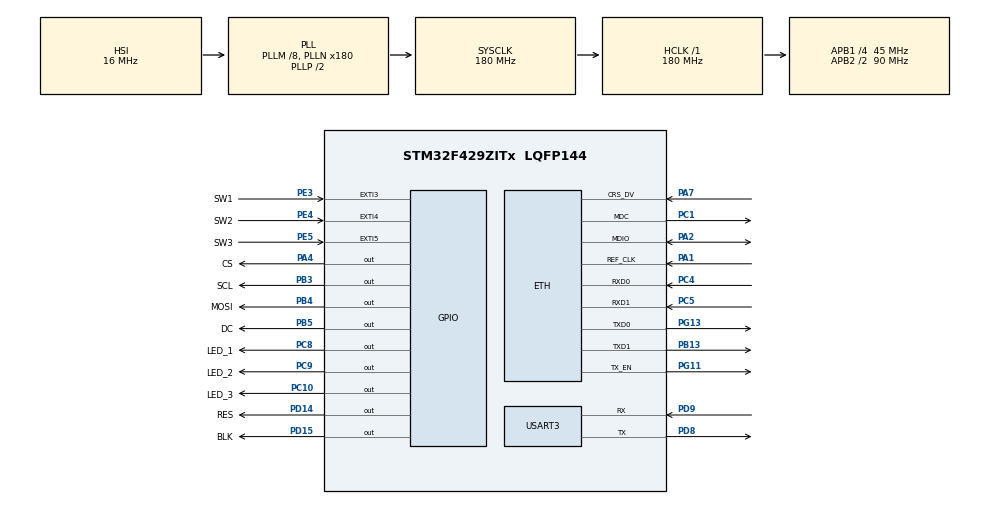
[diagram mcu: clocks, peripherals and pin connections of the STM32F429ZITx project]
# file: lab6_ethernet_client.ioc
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ETH.MACAddr=00\:80\:E1\:AB\:CD\:EF
ETH.MediaInterface=HAL_ETH_RMII_MODE
ETH.RxBuffLen=1536
ETH.RxMode=ETH_RXINTERRUPT_MODE
FREERTOS.Tasks01=defaultTask,24,128,StartDefaultTask,Default,NULL,Dynamic,NULL,NULL
FREERTOS.configTOTAL_HEAP_SIZE=25360
LWIP.BSP.number=1
LWIP.GATEWAY_ADDRESS=192.168.011.254
LWIP.IP_ADDRESS=192.168.011.168
LWIP.LWIP_DHCP=0
LWIP.MEM_SIZE=10*1024
LWIP.NETMASK_ADDRESS=255.255.255.000
LWIP.Version=v2.1.2_Cube
LWIP0.BSP.STBoard=false
LWIP0.BSP.api=BSP_COMPONENT_DRIVER
LWIP0.BSP.component=LAN8742
LWIP0.BSP.instance=LAN8742
LWIP0.BSP.name=Driver_PHY
LWIP0.BSP.semaphore=S_LAN8742
LWIP0.BSP.solution=LAN8742
Mcu.Family=STM32F4
Mcu.Name=STM32F429ZITx
Mcu.Package=LQFP144
NVIC.ETH_IRQn=true\:5\:0\:false\:false\:true\:true\:false\:true\:true
NVIC.EXTI3_IRQn=true\:5\:0\:false\:false\:true\:true\:true\:true\:true
NVIC.EXTI4_IRQn=true\:5\:0\:false\:false\:true\:true\:true\:true\:true
NVIC.EXTI9_5_IRQn=true\:5\:0\:false\:false\:true\:true\:true\:true\:true
NVIC.PriorityGroup=NVIC_PRIORITYGROUP_4
PA1.Mode=RMII
PA1.Signal=ETH_REF_CLK
PA13.Mode=Serial_Wire
PA13.Signal=SYS_JTMS-SWDIO
PA14.Mode=Serial_Wire
PA14.Signal=SYS_JTCK-SWCLK
PA2.Mode=RMII
PA2.Signal=ETH_MDIO
PA4.GPIO_Label=CS
PA4.Signal=GPIO_Output
PA7.Mode=RMII
PA7.Signal=ETH_CRS_DV
PB13.Mode=RMII
PB13.Signal=ETH_TXD1
PB3.GPIO_Label=SCL
PB3.Signal=GPIO_Output
PB4.GPIO_Label=MOSI
PB4.Signal=GPIO_Output
PB5.GPIO_Label=DC
PB5.Signal=GPIO_Output
PC1.Mode=RMII
PC1.Signal=ETH_MDC
PC10.GPIO_Label=LED_3
PC10.Signal=GPIO_Output
PC14/OSC32_IN.Mode=LSE-External-Oscillator
PC14/OSC32_IN.Signal=RCC_OSC32_IN
PC15/OSC32_OUT.Mode=LSE-External-Oscillator
PC15/OSC32_OUT.Signal=RCC_OSC32_OUT
PC4.Mode=RMII
PC4.Signal=ETH_RXD0
PC5.Mode=RMII
PC5.Signal=ETH_RXD1
PC8.GPIO_Label=LED_1
PC8.Signal=GPIO_Output
PC9.GPIO_Label=LED_2
PC9.Signal=GPIO_Output
PD14.GPIO_Label=RES
PD14.Signal=GPIO_Output
PD15.GPIO_Label=BLK
PD15.Signal=GPIO_Output
PD8.Mode=Asynchronous
PD8.Signal=USART3_TX
PD9.Mode=Asynchronous
PD9.Signal=USART3_RX
PE3.GPIO_Label=SW1
PE3.Signal=GPXTI3
PE4.GPIO_Label=SW2
PE4.Signal=GPXTI4
PE5.GPIO_Label=SW3
PE5.Signal=GPXTI5
PG11.Mode=RMII
PG11.Signal=ETH_TX_EN
PG13.Mode=RMII
PG13.Signal=ETH_TXD0
PH0/OSC_IN.Mode=HSE-External-Oscillator
PH0/OSC_IN.Signal=RCC_OSC_IN
PH1/OSC_OUT.Mode=HSE-External-Oscillator
PH1/OSC_OUT.Signal=RCC_OSC_OUT
ProjectManager.HeapSize=0x200
ProjectManager.StackSize=0x400
ProjectManager.TargetToolchain=MDK-ARM V5.32
RCC.48MHZClocksFreq_Value=90000000
RCC.AHBFreq_Value=180000000
RCC.APB1CLKDivider=RCC_HCLK_DIV4
RCC.APB1Freq_Value=45000000
RCC.APB1TimFreq_Value=90000000
RCC.APB2CLKDivider=RCC_HCLK_DIV2
RCC.APB2Freq_Value=90000000
RCC.APB2TimFreq_Value=180000000
RCC.CortexFreq_Value=180000000
RCC.HCLKFreq_Value=180000000
RCC.HSE_VALUE=25000000
RCC.HSI_VALUE=16000000
RCC.PLLM=8
RCC.PLLN=180
RCC.SYSCLKFreq_VALUE=180000000
RCC.SYSCLKSource=RCC_SYSCLKSOURCE_PLLCLK
RCC.VCOOutputFreq_Value=360000000
USART3.VirtualMode=VM_ASYNC
VP_FREERTOS_VS_CMSIS_V2.Mode=CMSIS_V2
VP_LWIP_VS_Enabled.Mode=Enabled
board=custom

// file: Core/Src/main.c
/* USER CODE BEGIN Header */
/**
  ******************************************************************************
  * @file           : main.c
  * @brief          : Main program body
  ******************************************************************************
  * @attention
  *
  * Copyright (c) 2024 STMicroelectronics.
  * All rights reserved.
  *
  * This software is licensed under terms that can be found in the LICENSE file
  * in the root directory of this software component.
  * If no LICENSE file comes with this software, it is provided AS-IS.
  *
  ******************************************************************************
  */
/* USER CODE END Header */
#include "main.h"
#include "cmsis_os.h"
#include "lwip.h"
#include "usart.h"
#include "gpio.h"

/* USER CODE BEGIN Includes */
#include "stdio.h"
#include "stdbool.h"
#include "string.h"

#include "FreeRTOS.h"
#include "queue.h"
#include "task.h"
#include "semphr.h"

#include "lcd.h"
#include "lcd_init.h"

#include "lwip/opt.h"
#include "lwip/api.h"
#include "lwip/sys.h"

#include "image.h"
#include "remu02.h"
#include "airisu03.h"
/* USER CODE END Includes */

/* USER CODE BEGIN PV */
void sendPackage(char *package);
TaskHandle_t handleST7789;
TaskHandle_t handleETH;
TaskHandle_t handleTCP_Init;
TaskHandle_t handleTCP_Send;
SemaphoreHandle_t xSemTCP;

uint8_t currentImage = 0;
const uint8_t totalImages = 3;
const uint16_t *imageArray[3] = {(const uint16_t*)gImage_remu02, (const uint16_t*)gImage_airisu03, (const uint16_t*)gImage_image};
bool isPlaying = false;
uint8_t msg[] = "M11417008";

static struct netconn *connTCP;
static struct netbuf *bufTCP;
static ip_addr_t addrDest;
static unsigned short port, portDest;
char msgc[100];
char smsgc[200];
int indx = 0; //send index

/* USER CODE END PV */

void SystemClock_Config(void);
void MX_FREERTOS_Init(void);
/* USER CODE BEGIN PFP */
FILE __stdout;

int fputc(int c, FILE *f) {
  //return (0);
	HAL_UART_Transmit(&huart3, (uint8_t *)&c, 1, HAL_MAX_DELAY);
  return c;
}
/* USER CODE END PFP */

/* USER CODE BEGIN 0 */

void taskST7789(void *pvParm){
	while(1){
		LCD_ShowPicture(0, 0, 240, 240, (const uint8_t*)imageArray[currentImage]);
		if(isPlaying){
			currentImage = (currentImage + 1) % totalImages;
		}
		vTaskDelay(100);
	}
}

void taskTCP_Init(void *pvParm){
	err_t err, connect;
	//create new connection
	connTCP = netconn_new(NETCONN_TCP);
	if(connTCP != NULL){

		/******************
		connTCP -> connection which to bind
		IP_ADDR_ANY -> local ip to bind, if use this variable it means to bind all local ip
		7 -> local port to bind
		******************/
		err = netconn_bind(connTCP, IP_ADDR_ANY, 7);

		if(err == ERR_OK){
			//printf("tcp create success\r\n");
			//server ip, port
			IP_ADDR4(&addrDest, 192, 168, 11, 99); //server ip
			portDest = 230; //server port

			//connect server
			connect = netconn_connect(connTCP, &addrDest, portDest);
			if(connect == ERR_OK){
				//printf("server connect success\r\n");
				xSemaphoreGive(xSemTCP);
				while(1){
					/*wait for receive the data from server*/
					if(netconn_recv(connTCP, &bufTCP) == ERR_OK){
						/*if rxBuf is not empty, process rxBUF and sent it back*/
						do{
							//take out the data from server sent
							strncpy(msgc, bufTCP->p->payload, bufTCP->p->len);
							//take the data into txBuf
							printf("Received: %s\r\n", msgc);
							snprintf(smsgc, sizeof(smsgc), "%s received by client\n", msgc);
							xSemaphoreTake(xSemTCP, 500);
							sendPackage(smsgc);
							if (strcmp(msgc, "0") == 0){
								//printf("round\r\n");
								isPlaying = !isPlaying;
							}

							memset(msgc, 0, sizeof(msgc));
						}while(netbuf_next(bufTCP) > 0);//until all data in rxBuf is processed
						netbuf_delete(bufTCP);
					}
				}
			}
			else{
				//connect fail
				//printf("Connect failed, error code: %d\n", connect);
				netconn_close(connTCP);
				netconn_delete(connTCP);
			}
		}
		else{
			//bind fail
			//printf("connect delete\r\n");
			netconn_delete(connTCP);
		}
	}
}

void sendPackage(char *package){
	//send package to connection
	netconn_write(connTCP, package, strlen(package), NETCONN_COPY);
	xSemaphoreGive(xSemTCP);
}

void taskETH(void *pvParm){
	/*************
	init LwIP first
	*************/
	MX_LWIP_Init();

	xSemTCP = xSemaphoreCreateBinary();
	xTaskCreate(taskTCP_Init, "TCP init", 2048, NULL, 0, &handleTCP_Init);
	printf("task create success\r\n");
	while(1){
		HAL_GPIO_TogglePin(LED_1_GPIO_Port, LED_1_Pin);
		vTaskDelay(100);
	}
}

/* USER CODE END 0 */

int main(void)
{

  /* MCU Configuration--------------------------------------------------------*/

  /* Reset of all peripherals, Initializes the Flash interface and the Systick. */
  HAL_Init();

  /* Configure the system clock */
  SystemClock_Config();

  /* Initialize all configured peripherals */
  MX_GPIO_Init();
  MX_USART3_UART_Init();
  /* USER CODE BEGIN 2 */
	LCD_Init();
	LCD_CS_Clr();

	LCD_Address_Set(0,0,240,240);
	LCD_Fill(0, 0, 240, 240, WHITE);
	LCD_ShowString(10, 30, msg, BLACK, WHITE, 32, 1);
	HAL_Delay(1000);

	xTaskCreate(taskST7789, "LCD Display", 512, NULL, 1, &handleST7789);
	xTaskCreate(taskETH, "ETH example", 1024, NULL, 1, &handleETH);

	printf("star\r\n");
	vTaskStartScheduler();
  /* USER CODE END 2 */

  /* Init scheduler */
  osKernelInitialize();  /* Call init function for freertos objects (in freertos.c) */
  MX_FREERTOS_Init();

  /* Start scheduler */
  osKernelStart();

  /* We should never get here as control is now taken by the scheduler */
  /* Infinite loop */
  while (1)
  {

  }
}

void SystemClock_Config(void)
{
  RCC_OscInitTypeDef RCC_OscInitStruct = {0};
  RCC_ClkInitTypeDef RCC_ClkInitStruct = {0};

  /** Configure the main internal regulator output voltage
  */
  __HAL_RCC_PWR_CLK_ENABLE();
  __HAL_PWR_VOLTAGESCALING_CONFIG(PWR_REGULATOR_VOLTAGE_SCALE1);

  /** Initializes the RCC Oscillators according to the specified parameters
  * in the RCC_OscInitTypeDef structure.
  */
  RCC_OscInitStruct.OscillatorType = RCC_OSCILLATORTYPE_HSI;
  RCC_OscInitStruct.HSIState = RCC_HSI_ON;
  RCC_OscInitStruct.HSICalibrationValue = RCC_HSICALIBRATION_DEFAULT;
  RCC_OscInitStruct.PLL.PLLState = RCC_PLL_ON;
  RCC_OscInitStruct.PLL.PLLSource = RCC_PLLSOURCE_HSI;
  RCC_OscInitStruct.PLL.PLLM = 8;
  RCC_OscInitStruct.PLL.PLLN = 180;
  RCC_OscInitStruct.PLL.PLLP = RCC_PLLP_DIV2;
  RCC_OscInitStruct.PLL.PLLQ = 4;
  if (HAL_RCC_OscConfig(&RCC_OscInitStruct) != HAL_OK)
  {
    Error_Handler();
  }

  /** Activate the Over-Drive mode
  */
  if (HAL_PWREx_EnableOverDrive() != HAL_OK)
  {
    Error_Handler();
  }

  /** Initializes the CPU, AHB and APB buses clocks
  */
  RCC_ClkInitStruct.ClockType = RCC_CLOCKTYPE_HCLK|RCC_CLOCKTYPE_SYSCLK
                              |RCC_CLOCKTYPE_PCLK1|RCC_CLOCKTYPE_PCLK2;
  RCC_ClkInitStruct.SYSCLKSource = RCC_SYSCLKSOURCE_PLLCLK;
  RCC_ClkInitStruct.AHBCLKDivider = RCC_SYSCLK_DIV1;
  RCC_ClkInitStruct.APB1CLKDivider = RCC_HCLK_DIV4;
  RCC_ClkInitStruct.APB2CLKDivider = RCC_HCLK_DIV2;

  if (HAL_RCC_ClockConfig(&RCC_ClkInitStruct, FLASH_LATENCY_5) != HAL_OK)
  {
    Error_Handler();
  }
}

void Error_Handler(void)
{
  __disable_irq();
  while (1)
  {
  }
}
